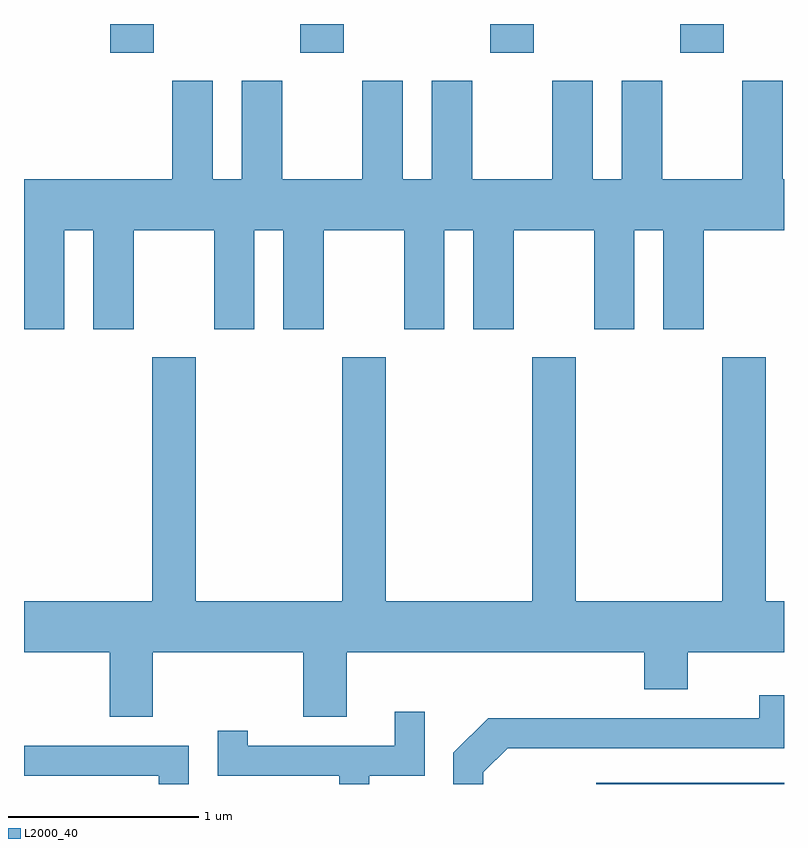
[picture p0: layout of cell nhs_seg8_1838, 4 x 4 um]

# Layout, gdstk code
import gdstk
lib = gdstk.Library(unit=1e-6, precision=1e-09)
def R(c, l, rs):  # rectangles x0, y0, x1, y1
    for r in rs: c.add(gdstk.rectangle(r[:2], r[2:], *l))
def A(c, l, x, y, w, h, nx, ny, dx, dy):  # array of equal rectangles
    R(c, l, [(x+i*dx, y+j*dy, x+i*dx+w, y+j*dy+h) for i in range(nx) for j in range(ny)])
def P(c, l, *ps):  # polygons
    for p in ps: c.add(gdstk.Polygon(p, *l))
L2000_40 = (2000, 40)

nhs_seg8_1838 = lib.new_cell('nhs_seg8_1838')
A(nhs_seg8_1838, L2000_40, 240.066, 1886.191, 0.228, 0.151, 4, 1, 1, 0)
R(nhs_seg8_1838, L2000_40, [(242.623,1882.342,243.611,1882.349)])
P(nhs_seg8_1838, L2000_40, [(239.824,1885.256),(239.976,1885.256),(239.976,1884.736),(240.189,1884.736),(240.189,1885.256),(240.611,1885.256),(240.611,1884.736),(240.824,1884.736),(240.824,1885.256),(240.976,1885.256),(240.976,1884.736),(241.189,1884.736),(241.189,1885.256),(241.611,1885.256),(241.611,1884.736),(241.824,1884.736),(241.824,1885.256),(241.976,1885.256),(241.976,1884.736),(242.189,1884.736),(242.189,1885.256),(242.611,1885.256),(242.611,1884.736),(242.824,1884.736),(242.824,1885.256),(242.976,1885.256),(242.976,1884.736),(243.189,1884.736),(243.189,1885.256),(243.611,1885.256),(243.611,1885.524),(243.604,1885.524),(243.604,1886.044),(243.391,1886.044),(243.391,1885.524),(242.969,1885.524),(242.969,1886.044),(242.756,1886.044),(242.756,1885.524),(242.604,1885.524),(242.604,1886.044),(242.391,1886.044),(242.391,1885.524),(241.969,1885.524),(241.969,1886.044),(241.756,1886.044),(241.756,1885.524),(241.604,1885.524),(241.604,1886.044),(241.391,1886.044),(241.391,1885.524),(240.969,1885.524),(240.969,1886.044),(240.756,1886.044),(240.756,1885.524),(240.604,1885.524),(240.604,1886.044),(240.391,1886.044),(240.391,1885.524),(239.611,1885.524),(239.611,1884.736),(239.824,1884.736)],
  [(240.289,1883.036),(241.081,1883.036),(241.081,1882.696),(241.309,1882.696),(241.309,1883.036),(242.876,1883.036),(242.876,1882.841),(243.104,1882.841),(243.104,1883.036),(243.611,1883.036),(243.611,1883.304),(243.514,1883.304),(243.514,1884.589),(243.286,1884.589),(243.286,1883.304),(242.514,1883.304),(242.514,1884.589),(242.286,1884.589),(242.286,1883.304),(241.514,1883.304),(241.514,1884.589),(241.286,1884.589),(241.286,1883.304),(240.514,1883.304),(240.514,1884.589),(240.286,1884.589),(240.286,1883.304),(239.611,1883.304),(239.611,1883.036),(240.061,1883.036),(240.061,1882.696),(240.289,1882.696)],
  [(242.029,1882.404),(242.157,1882.531),(243.611,1882.531),(243.611,1882.809),(243.481,1882.809),(243.481,1882.689),(242.054,1882.689),(241.871,1882.507),(241.871,1882.342),(242.029,1882.342)],
  [(241.429,1882.386),(241.719,1882.386),(241.719,1882.723),(241.561,1882.723),(241.561,1882.544),(240.789,1882.544),(240.789,1882.623),(240.631,1882.623),(240.631,1882.386),(241.271,1882.386),(241.271,1882.342),(241.429,1882.342)],
  [(240.479,1882.544),(239.611,1882.544),(239.611,1882.386),(240.321,1882.386),(240.321,1882.342),(240.479,1882.342)])

lib.write_gds('nhs_seg8_1838.gds')
